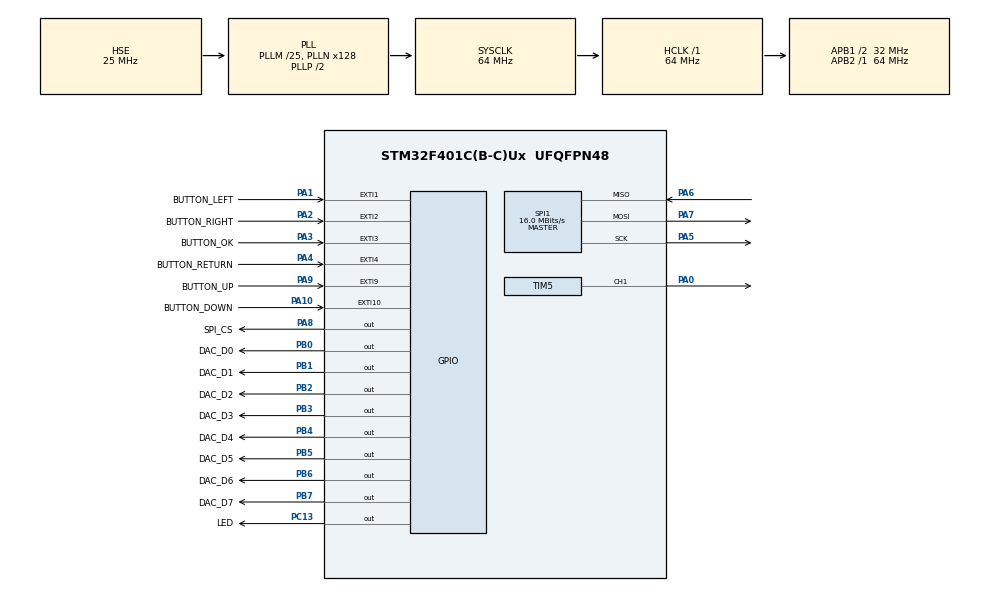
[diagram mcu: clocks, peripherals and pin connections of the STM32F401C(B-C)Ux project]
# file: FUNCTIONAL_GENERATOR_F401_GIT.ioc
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Dma.Request0=TIM1_UP
Dma.TIM1_UP.0.Direction=DMA_MEMORY_TO_PERIPH
Dma.TIM1_UP.0.FIFOMode=DMA_FIFOMODE_DISABLE
Dma.TIM1_UP.0.Instance=DMA2_Stream5
Dma.TIM1_UP.0.MemDataAlignment=DMA_MDATAALIGN_HALFWORD
Dma.TIM1_UP.0.MemInc=DMA_MINC_ENABLE
Dma.TIM1_UP.0.Mode=DMA_CIRCULAR
Dma.TIM1_UP.0.PeriphDataAlignment=DMA_PDATAALIGN_HALFWORD
Dma.TIM1_UP.0.PeriphInc=DMA_PINC_DISABLE
Dma.TIM1_UP.0.Priority=DMA_PRIORITY_LOW
FREERTOS.Queues01=myQueue01,10,20,1,Dynamic,NULL,NULL
FREERTOS.Tasks01=defaultTask,-3,128,StartDefaultTask,Default,NULL,Dynamic,NULL,NULL;myTask02,0,1024,buttonTask,Default,NULL,Dynamic,NULL,NULL;myTask03,-1,1024,displayTask,Default,NULL,Dynamic,NULL,NULL;myTask04,1,1024,dacTask,Default,NULL,Dynamic,NULL,NULL;myTask05,1,1024,pwmTask,Default,NULL,Dynamic,NULL,NULL
FREERTOS.configTOTAL_HEAP_SIZE=30000
FREERTOS.configUSE_NEWLIB_REENTRANT=0
Mcu.Family=STM32F4
Mcu.Name=STM32F401C(B-C)Ux
Mcu.Package=UFQFPN48
NVIC.DMA2_Stream5_IRQn=true\:5\:0\:false\:false\:true\:true\:false\:true\:true
NVIC.EXTI15_10_IRQn=true\:5\:0\:true\:false\:true\:true\:true\:true\:true
NVIC.EXTI1_IRQn=true\:5\:0\:true\:false\:true\:true\:true\:true\:true
NVIC.EXTI2_IRQn=true\:5\:0\:false\:false\:true\:true\:true\:true\:true
NVIC.EXTI3_IRQn=true\:5\:0\:false\:false\:true\:true\:true\:true\:true
NVIC.EXTI4_IRQn=true\:5\:0\:false\:false\:true\:true\:true\:true\:true
NVIC.EXTI9_5_IRQn=true\:5\:0\:false\:false\:true\:true\:true\:true\:true
NVIC.PriorityGroup=NVIC_PRIORITYGROUP_4
NVIC.TIM1_BRK_TIM9_IRQn=true\:5\:0\:false\:false\:true\:true\:true\:true\:true
NVIC.TIM2_IRQn=true\:15\:0\:false\:false\:true\:false\:false\:true\:true
NVIC.TimeBase=TIM2_IRQn
NVIC.TimeBaseIP=TIM2
PA0-WKUP.Signal=S_TIM5_CH1
PA1.GPIO_Label=BUTTON_LEFT
PA1.GPIO_ModeDefaultEXTI=GPIO_MODE_IT_FALLING
PA1.GPIO_PuPd=GPIO_PULLUP
PA1.Signal=GPXTI1
PA10.GPIO_Label=BUTTON_DOWN
PA10.GPIO_ModeDefaultEXTI=GPIO_MODE_IT_FALLING
PA10.GPIO_PuPd=GPIO_PULLUP
PA10.Signal=GPXTI10
PA13.Mode=Serial_Wire
PA13.Signal=SYS_JTMS-SWDIO
PA14.Mode=Serial_Wire
PA14.Signal=SYS_JTCK-SWCLK
PA2.GPIO_Label=BUTTON_RIGHT
PA2.GPIO_ModeDefaultEXTI=GPIO_MODE_IT_FALLING
PA2.GPIO_PuPd=GPIO_PULLUP
PA2.Signal=GPXTI2
PA3.GPIO_Label=BUTTON_OK
PA3.GPIO_ModeDefaultEXTI=GPIO_MODE_IT_FALLING
PA3.GPIO_PuPd=GPIO_PULLUP
PA3.Signal=GPXTI3
PA4.GPIO_Label=BUTTON_RETURN
PA4.GPIO_ModeDefaultEXTI=GPIO_MODE_IT_FALLING
PA4.GPIO_PuPd=GPIO_PULLUP
PA4.Signal=GPXTI4
PA5.Mode=Full_Duplex_Master
PA5.Signal=SPI1_SCK
PA6.Mode=Full_Duplex_Master
PA6.Signal=SPI1_MISO
PA7.Mode=Full_Duplex_Master
PA7.Signal=SPI1_MOSI
PA8.GPIO_Label=SPI_CS
PA8.GPIO_Speed=GPIO_SPEED_FREQ_MEDIUM
PA8.Signal=GPIO_Output
PA9.GPIO_Label=BUTTON_UP
PA9.GPIO_ModeDefaultEXTI=GPIO_MODE_IT_FALLING
PA9.GPIO_PuPd=GPIO_PULLUP
PA9.Signal=GPXTI9
PB0.GPIO_Label=DAC_D0
PB0.Signal=GPIO_Output
PB1.GPIO_Label=DAC_D1
PB1.Signal=GPIO_Output
PB2.GPIO_Label=DAC_D2
PB2.Signal=GPIO_Output
PB3.GPIO_Label=DAC_D3
PB3.Signal=GPIO_Output
PB4.GPIO_Label=DAC_D4
PB4.Signal=GPIO_Output
PB5.GPIO_Label=DAC_D5
PB5.Signal=GPIO_Output
PB6.GPIO_Label=DAC_D6
PB6.Signal=GPIO_Output
PB7.GPIO_Label=DAC_D7
PB7.Signal=GPIO_Output
PC13-ANTI_TAMP.GPIO_Label=LED
PC13-ANTI_TAMP.Signal=GPIO_Output
PH0\ -\ OSC_IN.Mode=HSE-External-Oscillator
PH0\ -\ OSC_IN.Signal=RCC_OSC_IN
PH1\ -\ OSC_OUT.Mode=HSE-External-Oscillator
PH1\ -\ OSC_OUT.Signal=RCC_OSC_OUT
ProjectManager.HeapSize=0x200
ProjectManager.StackSize=0x400
ProjectManager.TargetToolchain=STM32CubeIDE
RCC.48MHZClocksFreq_Value=32000000
RCC.AHBFreq_Value=64000000
RCC.APB1CLKDivider=RCC_HCLK_DIV2
RCC.APB1Freq_Value=32000000
RCC.APB1TimFreq_Value=64000000
RCC.APB2Freq_Value=64000000
RCC.APB2TimFreq_Value=64000000
RCC.CortexFreq_Value=64000000
RCC.HCLKFreq_Value=64000000
RCC.HSE_VALUE=25000000
RCC.HSI_VALUE=16000000
RCC.LSE_VALUE=32768
RCC.PLLM=25
RCC.PLLN=128
RCC.PLLSourceVirtual=RCC_PLLSOURCE_HSE
RCC.SYSCLKFreq_VALUE=64000000
RCC.SYSCLKSource=RCC_SYSCLKSOURCE_PLLCLK
RCC.VCOOutputFreq_Value=128000000
SH.S_TIM5_CH1.0=TIM5_CH1,PWM Generation1 CH1
SPI1.BaudRatePrescaler=SPI_BAUDRATEPRESCALER_4
SPI1.CalculateBaudRate=16.0 MBits/s
SPI1.Direction=SPI_DIRECTION_2LINES
SPI1.Mode=SPI_MODE_MASTER
SPI1.VirtualType=VM_MASTER
TIM5.Channel-PWM\ Generation1\ CH1=TIM_CHANNEL_1
TIM9.Period=9999
TIM9.Prescaler=639
VP_FREERTOS_VS_CMSIS_V1.Mode=CMSIS_V1
VP_SYS_VS_tim2.Mode=TIM2
VP_TIM1_VS_ClockSourceINT.Mode=Internal
VP_TIM5_VS_ClockSourceINT.Mode=Internal
VP_TIM9_VS_ClockSourceINT.Mode=Internal
board=custom

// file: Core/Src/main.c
/* USER CODE BEGIN Header */
/**
  ******************************************************************************
  * @file           : main.c
  * @brief          : Main program body
  ******************************************************************************
  * @attention
  *
  * Copyright (c) 2023 STMicroelectronics.
  * All rights reserved.
  *
  * This software is licensed under terms that can be found in the LICENSE file
  * in the root directory of this software component.
  * If no LICENSE file comes with this software, it is provided AS-IS.
  *
  ******************************************************************************
  */
/* USER CODE END Header */
#include "main.h"
#include "cmsis_os.h"

SPI_HandleTypeDef hspi1;

TIM_HandleTypeDef htim1;
TIM_HandleTypeDef htim5;
TIM_HandleTypeDef htim9;
DMA_HandleTypeDef hdma_tim1_up;

osThreadId defaultTaskHandle;
osThreadId myTask02Handle;
osThreadId myTask03Handle;
osThreadId myTask04Handle;
osThreadId myTask05Handle;
osMessageQId myQueue01Handle;

void SystemClock_Config(void);
static void MX_GPIO_Init(void);
static void MX_DMA_Init(void);
static void MX_SPI1_Init(void);
static void MX_TIM9_Init(void);
static void MX_TIM5_Init(void);
static void MX_TIM1_Init(void);
void StartDefaultTask(void const * argument);

/*	Задача для работы с клавиатурой		*/
void buttonTask(void const * argument);
/*	Задача для работы с дисплеем на MAX7219		*/
void displayTask(void const * argument);
/*	Задача для работы с ЦАПом	*/
void dacTask(void const * argument);
/*	Задача для работы с ШиМ	*/
void pwmTask(void const * argument);

/* USER CODE BEGIN PFP */

/*	имеем всевозможных 5 стадий настроек, для режима ЦАПа и ШиМ некоторые из неих будут отличаться.
 * 	По умолчанию все частоты 1 кГц, значит количество цифр на дисплее - 2. ЦАП и ШиМ изначально каждые 100 мс
 * 	проверяют состояние переменной dac_is_running и pwm_is_running.	*/
//--------------------------------------------------------------------------------
bool start_stage = true;
bool set_mode_stage = false;
bool set_signal_stage = false;
bool set_freq_stage = false;
bool set_duty_stage = false;
//--------------------------------------------------------------------------------
uint8_t digit_position = POINT_TENS;
uint8_t digits_amount = 2;
//--------------------------------------------------------------------------------
float freq_dac = 1.0;
float freq_pwm = 1.0;
float duty = 50.0f;
//--------------------------------------------------------------------------------
signal_t sign = TRIANGLE;
//--------------------------------------------------------------------------------
volatile bool dac_is_running = 0;
volatile bool pwm_is_running = 0;
volatile uint16_t button_exti;
//--------------------------------------------------------------------------------
bool dac_is_started = false;
bool pwm_is_started = false;
//--------------------------------------------------------------------------------

/*	Массив строк для удобного их вывода на дислпей на стадии установки сигнала	*/
static char signal_msg[][9] = {
		"TRIANGLE", "SINUS", "SAW", "REV SAW"
};

/*	Очередь для передачи идентификатора кнопки, на которую нажали, в задачу для работы с клавиатурой	*/
xQueueHandle xButtonQueue = NULL;
/*	Очередь для передачи строк на дисплей	*/
xQueueHandle xDisplayStringQueue = NULL;
/*	Очередь для передачи частоты на дисплей	*/
xQueueHandle xDisplayFreqQueue = NULL;
/*	Очередь для передачи скважности на дисплей	*/
xQueueHandle xDisplayDutyQueue = NULL;

/* USER CODE END PFP */

/* USER CODE BEGIN 0 */

/*	Колбек для первичной обработки нажатия клавиатуры	*/
void HAL_GPIO_EXTI_Callback(uint16_t GPIO_Pin)
{
	button_exti = GPIO_Pin;
	HAL_TIM_Base_Start_IT(&htim9);
	HAL_NVIC_DisableIRQ(BUTTON_DOWN_EXTI_IRQn);
	HAL_NVIC_DisableIRQ(BUTTON_UP_EXTI_IRQn);
	HAL_NVIC_DisableIRQ(BUTTON_LEFT_EXTI_IRQn);
	HAL_NVIC_DisableIRQ(BUTTON_RIGHT_EXTI_IRQn);
	HAL_NVIC_DisableIRQ(BUTTON_RETURN_EXTI_IRQn);
	HAL_NVIC_DisableIRQ(BUTTON_OK_EXTI_IRQn);
	/*	Запустили таймер на отсчёт 100 мс для защиты от дребезга.	*/
}
/* USER CODE END 0 */

int main(void)
{

  /* MCU Configuration--------------------------------------------------------*/

  /* Reset of all peripherals, Initializes the Flash interface and the Systick. */
  HAL_Init();

  /* Configure the system clock */
  SystemClock_Config();

  /* Initialize all configured peripherals */
  MX_GPIO_Init();
  MX_DMA_Init();
  MX_SPI1_Init();
  MX_TIM9_Init();
  MX_TIM5_Init();
  MX_TIM1_Init();
  /* USER CODE BEGIN 2 */
  max7219_init_t cfg = {
  		  .SPI_Handle = &hspi1,
  		  .decode_mode = MAX7219_NO_DECODE,
  		  .indicator_intensity = MAX7219_INTENSITY_25_OF_32,
  		  .digits_quantity = MAX7219_DISPLAY_0_TO_7,
		  .CS_PORT = SPI_CS_GPIO_Port,
  		  .CS_PIN = SPI_CS_Pin
    };
  MAX7219_init(&cfg);
  MAX7219_clearAll();
  MAX7219_sendString("SET MODE");

  xButtonQueue = xQueueCreate(10, sizeof(uint16_t));
  xDisplayStringQueue = xQueueCreate(10, sizeof(char[9]));
  xDisplayFreqQueue = xQueueCreate(10, sizeof(float));
  xDisplayDutyQueue = xQueueCreate(10, sizeof(float));

  /* USER CODE END 2 */

  /* Create the queue(s) */
  /* definition and creation of myQueue01 */
  osMessageQDef(myQueue01, 10, 20);
  myQueue01Handle = osMessageCreate(osMessageQ(myQueue01), NULL);

  /* Create the thread(s) */
  /* definition and creation of defaultTask */
  osThreadDef(defaultTask, StartDefaultTask, osPriorityIdle, 0, 128);
  defaultTaskHandle = osThreadCreate(osThread(defaultTask), NULL);

  /* definition and creation of myTask02 */
  osThreadDef(myTask02, buttonTask, osPriorityNormal, 0, 1024);
  myTask02Handle = osThreadCreate(osThread(myTask02), NULL);

  /* definition and creation of myTask03 */
  osThreadDef(myTask03, displayTask, osPriorityBelowNormal, 0, 1024);
  myTask03Handle = osThreadCreate(osThread(myTask03), NULL);

  /* definition and creation of myTask04 */
  osThreadDef(myTask04, dacTask, osPriorityAboveNormal, 0, 1024);
  myTask04Handle = osThreadCreate(osThread(myTask04), NULL);

  /* definition and creation of myTask05 */
  osThreadDef(myTask05, pwmTask, osPriorityAboveNormal, 0, 1024);
  myTask05Handle = osThreadCreate(osThread(myTask05), NULL);

  /* Start scheduler */
  osKernelStart();
  /* We should never get here as control is now taken by the scheduler */
  /* Infinite loop */
  while (1)
  {

  }
}

void SystemClock_Config(void)
{
  RCC_OscInitTypeDef RCC_OscInitStruct = {0};
  RCC_ClkInitTypeDef RCC_ClkInitStruct = {0};

  /** Configure the main internal regulator output voltage
  */
  __HAL_RCC_PWR_CLK_ENABLE();
  __HAL_PWR_VOLTAGESCALING_CONFIG(PWR_REGULATOR_VOLTAGE_SCALE2);

  /** Initializes the RCC Oscillators according to the specified parameters
  * in the RCC_OscInitTypeDef structure.
  */
  RCC_OscInitStruct.OscillatorType = RCC_OSCILLATORTYPE_HSE;
  RCC_OscInitStruct.HSEState = RCC_HSE_ON;
  RCC_OscInitStruct.PLL.PLLState = RCC_PLL_ON;
  RCC_OscInitStruct.PLL.PLLSource = RCC_PLLSOURCE_HSE;
  RCC_OscInitStruct.PLL.PLLM = 25;
  RCC_OscInitStruct.PLL.PLLN = 128;
  RCC_OscInitStruct.PLL.PLLP = RCC_PLLP_DIV2;
  RCC_OscInitStruct.PLL.PLLQ = 4;
  if (HAL_RCC_OscConfig(&RCC_OscInitStruct) != HAL_OK)
  {
    Error_Handler();
  }

  /** Initializes the CPU, AHB and APB buses clocks
  */
  RCC_ClkInitStruct.ClockType = RCC_CLOCKTYPE_HCLK|RCC_CLOCKTYPE_SYSCLK
                              |RCC_CLOCKTYPE_PCLK1|RCC_CLOCKTYPE_PCLK2;
  RCC_ClkInitStruct.SYSCLKSource = RCC_SYSCLKSOURCE_PLLCLK;
  RCC_ClkInitStruct.AHBCLKDivider = RCC_SYSCLK_DIV1;
  RCC_ClkInitStruct.APB1CLKDivider = RCC_HCLK_DIV2;
  RCC_ClkInitStruct.APB2CLKDivider = RCC_HCLK_DIV1;

  if (HAL_RCC_ClockConfig(&RCC_ClkInitStruct, FLASH_LATENCY_2) != HAL_OK)
  {
    Error_Handler();
  }
}

static void MX_SPI1_Init(void)
{

  /* SPI1 parameter configuration*/
  hspi1.Instance = SPI1;
  hspi1.Init.Mode = SPI_MODE_MASTER;
  hspi1.Init.Direction = SPI_DIRECTION_2LINES;
  hspi1.Init.DataSize = SPI_DATASIZE_8BIT;
  hspi1.Init.CLKPolarity = SPI_POLARITY_LOW;
  hspi1.Init.CLKPhase = SPI_PHASE_1EDGE;
  hspi1.Init.NSS = SPI_NSS_SOFT;
  hspi1.Init.BaudRatePrescaler = SPI_BAUDRATEPRESCALER_4;
  hspi1.Init.FirstBit = SPI_FIRSTBIT_MSB;
  hspi1.Init.TIMode = SPI_TIMODE_DISABLE;
  hspi1.Init.CRCCalculation = SPI_CRCCALCULATION_DISABLE;
  hspi1.Init.CRCPolynomial = 10;
  if (HAL_SPI_Init(&hspi1) != HAL_OK)
  {
    Error_Handler();
  }

}

static void MX_TIM1_Init(void)
{

  TIM_ClockConfigTypeDef sClockSourceConfig = {0};
  TIM_MasterConfigTypeDef sMasterConfig = {0};

  htim1.Instance = TIM1;
  htim1.Init.Prescaler = 0;
  htim1.Init.CounterMode = TIM_COUNTERMODE_UP;
  htim1.Init.Period = 65535;
  htim1.Init.ClockDivision = TIM_CLOCKDIVISION_DIV1;
  htim1.Init.RepetitionCounter = 0;
  htim1.Init.AutoReloadPreload = TIM_AUTORELOAD_PRELOAD_DISABLE;
  if (HAL_TIM_Base_Init(&htim1) != HAL_OK)
  {
    Error_Handler();
  }
  sClockSourceConfig.ClockSource = TIM_CLOCKSOURCE_INTERNAL;
  if (HAL_TIM_ConfigClockSource(&htim1, &sClockSourceConfig) != HAL_OK)
  {
    Error_Handler();
  }
  sMasterConfig.MasterOutputTrigger = TIM_TRGO_RESET;
  sMasterConfig.MasterSlaveMode = TIM_MASTERSLAVEMODE_DISABLE;
  if (HAL_TIMEx_MasterConfigSynchronization(&htim1, &sMasterConfig) != HAL_OK)
  {
    Error_Handler();
  }

}

static void MX_TIM5_Init(void)
{

  TIM_ClockConfigTypeDef sClockSourceConfig = {0};
  TIM_MasterConfigTypeDef sMasterConfig = {0};
  TIM_OC_InitTypeDef sConfigOC = {0};

  htim5.Instance = TIM5;
  htim5.Init.Prescaler = 0;
  htim5.Init.CounterMode = TIM_COUNTERMODE_UP;
  htim5.Init.Period = 4294967295;
  htim5.Init.ClockDivision = TIM_CLOCKDIVISION_DIV1;
  htim5.Init.AutoReloadPreload = TIM_AUTORELOAD_PRELOAD_DISABLE;
  if (HAL_TIM_Base_Init(&htim5) != HAL_OK)
  {
    Error_Handler();
  }
  sClockSourceConfig.ClockSource = TIM_CLOCKSOURCE_INTERNAL;
  if (HAL_TIM_ConfigClockSource(&htim5, &sClockSourceConfig) != HAL_OK)
  {
    Error_Handler();
  }
  if (HAL_TIM_PWM_Init(&htim5) != HAL_OK)
  {
    Error_Handler();
  }
  sMasterConfig.MasterOutputTrigger = TIM_TRGO_RESET;
  sMasterConfig.MasterSlaveMode = TIM_MASTERSLAVEMODE_DISABLE;
  if (HAL_TIMEx_MasterConfigSynchronization(&htim5, &sMasterConfig) != HAL_OK)
  {
    Error_Handler();
  }
  sConfigOC.OCMode = TIM_OCMODE_PWM1;
  sConfigOC.Pulse = 0;
  sConfigOC.OCPolarity = TIM_OCPOLARITY_HIGH;
  sConfigOC.OCFastMode = TIM_OCFAST_DISABLE;
  if (HAL_TIM_PWM_ConfigChannel(&htim5, &sConfigOC, TIM_CHANNEL_1) != HAL_OK)
  {
    Error_Handler();
  }
  HAL_TIM_MspPostInit(&htim5);

}

static void MX_TIM9_Init(void)
{

  TIM_ClockConfigTypeDef sClockSourceConfig = {0};

  htim9.Instance = TIM9;
  htim9.Init.Prescaler = 639;
  htim9.Init.CounterMode = TIM_COUNTERMODE_UP;
  htim9.Init.Period = 9999;
  htim9.Init.ClockDivision = TIM_CLOCKDIVISION_DIV1;
  htim9.Init.AutoReloadPreload = TIM_AUTORELOAD_PRELOAD_DISABLE;
  if (HAL_TIM_Base_Init(&htim9) != HAL_OK)
  {
    Error_Handler();
  }
  sClockSourceConfig.ClockSource = TIM_CLOCKSOURCE_INTERNAL;
  if (HAL_TIM_ConfigClockSource(&htim9, &sClockSourceConfig) != HAL_OK)
  {
    Error_Handler();
  }

}

static void MX_DMA_Init(void)
{

  /* DMA controller clock enable */
  __HAL_RCC_DMA2_CLK_ENABLE();

  /* DMA interrupt init */
  /* DMA2_Stream5_IRQn interrupt configuration */
  HAL_NVIC_SetPriority(DMA2_Stream5_IRQn, 5, 0);
  HAL_NVIC_EnableIRQ(DMA2_Stream5_IRQn);

}

static void MX_GPIO_Init(void)
{
  GPIO_InitTypeDef GPIO_InitStruct = {0};

  /* GPIO Ports Clock Enable */
  __HAL_RCC_GPIOC_CLK_ENABLE();
  __HAL_RCC_GPIOH_CLK_ENABLE();
  __HAL_RCC_GPIOA_CLK_ENABLE();
  __HAL_RCC_GPIOB_CLK_ENABLE();

  /*Configure GPIO pin Output Level */
  HAL_GPIO_WritePin(LED_GPIO_Port, LED_Pin, GPIO_PIN_RESET);

  /*Configure GPIO pin Output Level */
  HAL_GPIO_WritePin(GPIOB, DAC_D0_Pin|DAC_D1_Pin|DAC_D2_Pin|DAC_D3_Pin
                          |DAC_D4_Pin|DAC_D5_Pin|DAC_D6_Pin|DAC_D7_Pin, GPIO_PIN_RESET);

  /*Configure GPIO pin Output Level */
  HAL_GPIO_WritePin(SPI_CS_GPIO_Port, SPI_CS_Pin, GPIO_PIN_RESET);

  /*Configure GPIO pin : LED_Pin */
  GPIO_InitStruct.Pin = LED_Pin;
  GPIO_InitStruct.Mode = GPIO_MODE_OUTPUT_PP;
  GPIO_InitStruct.Pull = GPIO_NOPULL;
  GPIO_InitStruct.Speed = GPIO_SPEED_FREQ_LOW;
  HAL_GPIO_Init(LED_GPIO_Port, &GPIO_InitStruct);

  /*Configure GPIO pins : BUTTON_LEFT_Pin BUTTON_RIGHT_Pin BUTTON_OK_Pin BUTTON_RETURN_Pin
                           BUTTON_UP_Pin BUTTON_DOWN_Pin */
  GPIO_InitStruct.Pin = BUTTON_LEFT_Pin|BUTTON_RIGHT_Pin|BUTTON_OK_Pin|BUTTON_RETURN_Pin
                          |BUTTON_UP_Pin|BUTTON_DOWN_Pin;
  GPIO_InitStruct.Mode = GPIO_MODE_IT_FALLING;
  GPIO_InitStruct.Pull = GPIO_PULLUP;
  HAL_GPIO_Init(GPIOA, &GPIO_InitStruct);

  /*Configure GPIO pins : DAC_D0_Pin DAC_D1_Pin DAC_D2_Pin DAC_D3_Pin
                           DAC_D4_Pin DAC_D5_Pin DAC_D6_Pin DAC_D7_Pin */
  GPIO_InitStruct.Pin = DAC_D0_Pin|DAC_D1_Pin|DAC_D2_Pin|DAC_D3_Pin
                          |DAC_D4_Pin|DAC_D5_Pin|DAC_D6_Pin|DAC_D7_Pin;
  GPIO_InitStruct.Mode = GPIO_MODE_OUTPUT_PP;
  GPIO_InitStruct.Pull = GPIO_NOPULL;
  GPIO_InitStruct.Speed = GPIO_SPEED_FREQ_LOW;
  HAL_GPIO_Init(GPIOB, &GPIO_InitStruct);

  /*Configure GPIO pin : SPI_CS_Pin */
  GPIO_InitStruct.Pin = SPI_CS_Pin;
  GPIO_InitStruct.Mode = GPIO_MODE_OUTPUT_PP;
  GPIO_InitStruct.Pull = GPIO_NOPULL;
  GPIO_InitStruct.Speed = GPIO_SPEED_FREQ_MEDIUM;
  HAL_GPIO_Init(SPI_CS_GPIO_Port, &GPIO_InitStruct);

  /* EXTI interrupt init*/
  HAL_NVIC_SetPriority(EXTI1_IRQn, 5, 0);
  HAL_NVIC_EnableIRQ(EXTI1_IRQn);

  HAL_NVIC_SetPriority(EXTI2_IRQn, 5, 0);
  HAL_NVIC_EnableIRQ(EXTI2_IRQn);

  HAL_NVIC_SetPriority(EXTI3_IRQn, 5, 0);
  HAL_NVIC_EnableIRQ(EXTI3_IRQn);

  HAL_NVIC_SetPriority(EXTI4_IRQn, 5, 0);
  HAL_NVIC_EnableIRQ(EXTI4_IRQn);

  HAL_NVIC_SetPriority(EXTI9_5_IRQn, 5, 0);
  HAL_NVIC_EnableIRQ(EXTI9_5_IRQn);

  HAL_NVIC_SetPriority(EXTI15_10_IRQn, 5, 0);
  HAL_NVIC_EnableIRQ(EXTI15_10_IRQn);

}

void StartDefaultTask(void const * argument)
{
  for(;;)
  {
    osDelay(1);
  }
}

void buttonTask(void const * argument)
{
  /* USER CODE BEGIN buttonTask */
	uint16_t button_num;
	float freq_buff = 1.0f;
	char str_buff[9] = {};
	uint8_t mode = PWM_MODE;
  /* Infinite loop */
	for(;;)
	{
		button_num = 0;
		xQueueReceive(xButtonQueue, &button_num, 100 / portTICK_RATE_MS);
		switch(button_num)
		{
			case BUTTON_LEFT_Pin:
				if( set_mode_stage )
				{
					sprintf(str_buff, "%s", (mode == PWM_MODE)? "DAC MODE" : "PWM MODE");
					mode = (mode == PWM_MODE)? DAC_MODE : PWM_MODE;
					xQueueSendToBack(xDisplayStringQueue, str_buff, 50 / portTICK_RATE_MS);
				}
				if( set_signal_stage )
				{
					sign++;
					if( sign > REVERSE_SAW )  sign = TRIANGLE;
					sprintf(str_buff, "%s", signal_msg[sign - 1]);
					xQueueSendToBack(xDisplayStringQueue, str_buff, 50 / portTICK_RATE_MS);
				}
				if( set_freq_stage )
				{
					digit_position++;
					if( digit_position > digits_amount ) digit_position = POINT_TENS;
					/*	Если достигли старшего разряда то возвращаемся к младшему	*/
					freq_buff = (mode == PWM_MODE)? freq_pwm : freq_dac;
					xQueueSendToBack(xDisplayFreqQueue, &freq_buff, 50 / portTICK_RATE_MS);
				}
				if( set_duty_stage )
				{
					digit_position++;
					if( digit_position > digits_amount ) digit_position = POINT_TENS;
					xQueueSendToBack(xDisplayDutyQueue, &duty, 50 / portTICK_RATE_MS);
				}
				break;

			case BUTTON_RIGHT_Pin:
				if( set_mode_stage )	// Если мы на выборе режима то мы должны его выбрать
				{
					sprintf(str_buff, "%s", (mode == PWM_MODE)? "DAC MODE" : "PWM MODE");
					mode = (mode == PWM_MODE)? DAC_MODE : PWM_MODE;
					xQueueSendToBack(xDisplayStringQueue, str_buff, 50 / portTICK_RATE_MS);
				}
				if( set_signal_stage )
				{
					sign--;
					if( sign < TRIANGLE )  sign = REVERSE_SAW;
					sprintf(str_buff, "%s", signal_msg[sign - 1]);
					xQueueSendToBack(xDisplayStringQueue, str_buff, 50 / portTICK_RATE_MS);
				}
				if( set_freq_stage )
				{
					digit_position--;
					if( digit_position < POINT_TENS)	digit_position = digits_amount;
					/*	Если мы с самого краю справа, то нужно переместиться на самый старший разряд слева */
					freq_buff = (mode == PWM_MODE)? freq_pwm : freq_dac;
					xQueueSendToBack(xDisplayFreqQueue, &freq_buff, 50 / portTICK_RATE_MS);
				}
				if( set_duty_stage )
				{
					digit_position--;
					if( digit_position < POINT_TENS)	digit_position = digits_amount;
					xQueueSendToBack(xDisplayDutyQueue, &duty, 50 / portTICK_RATE_MS);
				}
				break;

			case BUTTON_UP_Pin:
				if( set_freq_stage )
				{
					if( mode == PWM_MODE)
					{
						freq_pwm += (digit_position == POINT_TENS) ? 0.1 : 0;
						freq_pwm += (digit_position == UNITS) ? 1 : 0;
						freq_pwm += (digit_position == TENS) ? 10 : 0;
						freq_pwm += (digit_position == HUNDREDS) ? 100 : 0;
						/*	В зависимости от того, на каком разряде мы остановились, будем прибавлять величину на
						 	 1 нужного нам разряда, будь то десятые, еидинцы или десятки */
						if( freq_pwm > 9.9 && freq_pwm < 100 )	digits_amount = TENS;
						if( freq_pwm > 99.9 )					digits_amount = HUNDREDS;
						if( freq_pwm > 999.9 )					freq_pwm = 999.9;
						xQueueSendToBack(xDisplayFreqQueue, &freq_pwm, 50 / portTICK_RATE_MS);
					}
					if( mode == DAC_MODE )
					{
						freq_dac += (digit_position == POINT_TENS) ? 0.1 : 0;
						freq_dac += (digit_position == UNITS) ? 1 : 0;
						freq_dac +=(digit_position == TENS) ? 10 : 0;
						if(freq_dac > 9.9)	digits_amount = TENS;
						if( freq_dac > 5 && sign == SIN )							freq_dac = 5.0;
						if( freq_dac > 30 && (sign == SAW || sign == REVERSE_SAW) )	freq_dac = 30.0;
						if( freq_dac > 15 && sign == TRIANGLE )						freq_dac = 15.0;
						xQueueSendToBack(xDisplayFreqQueue, &freq_dac, 50 / portTICK_RATE_MS);
					}
				}
				if( set_duty_stage )
				{
					duty += (digit_position == POINT_TENS) ? 0.1 : 0;
					duty += (digit_position == UNITS) ? 1 : 0;
					duty += (digit_position == TENS) ? 10 : 0;
					if(duty > 9.9)	digits_amount = TENS;
					if(duty > 99.9)	duty = 99.9;
					xQueueSendToBack(xDisplayDutyQueue, &duty, 50 / portTICK_RATE_MS);
				}
				break;

			case BUTTON_DOWN_Pin:
				if( set_freq_stage )
				{
					if( mode == PWM_MODE)
					{
						freq_pwm -= (digit_position == POINT_TENS) ? 0.1 : 0;
						freq_pwm -= (digit_position == UNITS) ? 1 : 0;
						freq_pwm -= (digit_position == TENS) ? 10 : 0;
						freq_pwm -= (digit_position == HUNDREDS) ? 100 : 0;
						if( freq_pwm < 10 )	digits_amount = UNITS;
						if( freq_pwm <= 0.01 )	freq_pwm = 0.1;
						xQueueSendToBack(xDisplayFreqQueue, &freq_pwm, 50 / portTICK_RATE_MS);
					}
					if( mode == DAC_MODE )
					{
						freq_dac -= (digit_position == POINT_TENS) ? 0.1 : 0;
						freq_dac -= (digit_position == UNITS) ? 1 : 0;
						freq_dac -= (digit_position == TENS) ? 10 : 0;
						if( freq_dac < 10 )	digits_amount = UNITS;
						if( freq_dac <= 0.01 )	freq_dac = 0.1;
					}
				}
				if( set_duty_stage )
				{
					duty -= (digit_position == POINT_TENS) ? 0.1 : 0;
					duty -= (digit_position == UNITS) ? 1 : 0;
					duty -= (digit_position == TENS) ? 10 : 0;
					if(duty < 10)	digits_amount = UNITS;
					if(duty <= 0.01 )	duty = 0.1;
					xQueueSendToBack(xDisplayDutyQueue, &duty, 50 / portTICK_RATE_MS);
				}
				break;

			case BUTTON_OK_Pin:
				if( start_stage )
				{
					start_stage = false;
					set_mode_stage = true;
					sprintf(str_buff, "PWM MODE");
					xQueueSendToBack(xDisplayStringQueue, str_buff, 50 / portTICK_RATE_MS);	//
					continue;
				}
				if( set_mode_stage )
				{
					set_mode_stage = false;
					if( mode == PWM_MODE)
					{
						set_signal_stage = false;
						digits_amount = UNITS;
						set_freq_stage = true;
						sprintf(str_buff, "SET FREQ");
						xQueueSendToBack(xDisplayStringQueue, str_buff, 50 / portTICK_RATE_MS);
						vTaskDelay(2000 / portTICK_RATE_MS);
						xQueueSendToBack(xDisplayFreqQueue, &freq_pwm, 50 / portTICK_RATE_MS);
						continue;
					}
					else if( mode == DAC_MODE)
					{
						set_signal_stage = true;
						sprintf(str_buff, "SET SIGN");
						xQueueSendToBack(xDisplayStringQueue, str_buff, 50 / portTICK_RATE_MS);
						vTaskDelay(2000 / portTICK_RATE_MS);
						sprintf(str_buff, signal_msg[sign - 1]);
						xQueueSendToBack(xDisplayStringQueue, str_buff, 50 / portTICK_RATE_MS);
						continue;
					}
				}
				if( set_signal_stage )
				{
					set_signal_stage = false;
					set_freq_stage = true;
					sprintf(str_buff, "SET FREQ");
					xQueueSendToBack(xDisplayStringQueue, str_buff, 10 / portTICK_RATE_MS);
					vTaskDelay(2000 / portTICK_RATE_MS);
					xQueueSendToBack(xDisplayFreqQueue, &freq_dac, 10 / portTICK_RATE_MS);
					continue;
				}
				if( set_freq_stage )
				{
					if( mode == PWM_MODE )
					{
						digits_amount = TENS;
						sprintf(str_buff, "%s", "SET DUTY");
						xQueueSendToBack(xDisplayStringQueue, str_buff, 50 / portTICK_RATE_MS);
						vTaskDelay(2000 / portTICK_RATE_MS);
						xQueueSendToBack(xDisplayDutyQueue, &duty, 50 / portTICK_RATE_MS);
						set_duty_stage = true;
						set_freq_stage = false;
						continue;
					}
					else
					{
						set_duty_stage = false;
						sprintf(str_buff, "%s", "DAC RUN");
						xQueueSendToBack(xDisplayStringQueue, str_buff, 50 / portTICK_RATE_MS);
						dac_is_running = true;
					}
					set_freq_stage = false;
				}
				if( set_duty_stage )
				{
					set_duty_stage = false;
					sprintf(str_buff, "%s", "PWM RUN");
					xQueueSendToBack(xDisplayStringQueue, str_buff, 50 / portTICK_RATE_MS);
					pwm_is_running = true;
				}
				break;

			case BUTTON_RETURN_Pin:
				set_mode_stage = false;
				set_signal_stage = false;
				set_duty_stage = false;
				set_freq_stage = false;
				start_stage = true;
				mode = PWM_MODE;
				sprintf(str_buff, "%s", "SET MODE");
				xQueueSendToBack(xDisplayStringQueue,str_buff, 10 / portTICK_RATE_MS);
				break;
		}
		HAL_GPIO_TogglePin(LED_GPIO_Port, LED_Pin);
	}
  /* USER CODE END buttonTask */
}

void displayTask(void const * argument)
{
  /* USER CODE BEGIN displayTask */
  /* Infinite loop */
	char str[9] = {};
	uint8_t offset;
	float freq = 0.0f;
	float duty = 0.0f;
	for(;;)
	{
		if( xQueueReceive(xDisplayStringQueue, str, 10 / portTICK_RATE_MS) == pdPASS )
		{
			MAX7219_clearAll();
			MAX7219_sendString(str);
		}
		if( set_duty_stage )
		{
			if( xQueueReceive(xDisplayDutyQueue, &duty, 10 / portTICK_RATE_MS) != pdPASS ) continue;
			MAX7219_clearAll();
			/*	Реализована подсветка нужного разряда при его выборе путем подсвечивания цифры на 0,3 сек	*/
			offset = MAX7219_sendDuty(duty);
			MAX7219_clearOneSegment( offset - (1 + digit_position) );
			vTaskDelay(300 / portTICK_RATE_MS);
			MAX7219_clearAll();
			MAX7219_sendDuty(duty);
		}
		else if( set_freq_stage )
		{
			if( xQueueReceive(xDisplayFreqQueue, &freq, 10 / portTICK_RATE_MS) != pdPASS) continue;
			MAX7219_clearAll();
			offset = MAX7219_sendFreq(freq);
			MAX7219_clearOneSegment( offset - (1 + digit_position) );
			vTaskDelay(300 / portTICK_RATE_MS);
			MAX7219_clearAll();
			MAX7219_sendFreq(freq);
		}
	}
  /* USER CODE END displayTask */
}

void dacTask(void const * argument)
{
  /* USER CODE BEGIN dacTask */
  /* Infinite loop */
	for(;;)
	{
		if( dac_is_running && !dac_is_started )	/*	Если выставили переменную на работу ЦАПа но он ещё не работает	*/
		{
			DAC_start(sign, freq_dac);
			dac_is_started = true;				/* 	Чтобы повторно сюда не заходить	*/
		}
		if( !dac_is_running && dac_is_started)	/*	Если ЦАП работает была нажата кнопка RETURN */
		{
			DAC_stop();
			dac_is_started = false;
		}
		vTaskDelay(100 / portTICK_RATE_MS);
	}
  /* USER CODE END dacTask */
}

void pwmTask(void const * argument)
{
  /* USER CODE BEGIN pwmTask */
  /* Infinite loop */
	for(;;)
	{
		if( pwm_is_running && !pwm_is_started )	/*	Если выставили переменную на работу Ш�?М но он ещё не работает	*/
		{
			PWM_start(freq_pwm, duty);
			pwm_is_started = true;
		}
		if( !pwm_is_running && pwm_is_started)	/*	Если Ш�?М работает была нажата кнопка RETURN */
		{
			PWM_stop();
			pwm_is_started = false;
		}
		vTaskDelay(100 / portTICK_RATE_MS);
	}
  /* USER CODE END pwmTask */
}

/* Колбек в котором	реализуется защита от дребезга	*/
void HAL_TIM_PeriodElapsedCallback(TIM_HandleTypeDef *htim)
{
  if (htim->Instance == TIM2) {
    HAL_IncTick();
  }
  /* USER CODE BEGIN Callback 1 */
	if(htim->Instance == TIM9)
	{
		HAL_TIM_Base_Stop_IT(&htim9);
		BaseType_t high_task_awoken = 0;
		if( HAL_GPIO_ReadPin(GPIOA, button_exti) == GPIO_PIN_RESET )
		{
			uint16_t button_num = button_exti;
			switch(button_exti)
			{
				case BUTTON_LEFT_Pin:
					button_num = BUTTON_LEFT_Pin;
					break;
				case BUTTON_RIGHT_Pin:
					button_num = BUTTON_RIGHT_Pin;
					break;
				case BUTTON_UP_Pin:
					button_num = BUTTON_UP_Pin;
					break;
				case BUTTON_DOWN_Pin:
					button_num = BUTTON_DOWN_Pin;
					break;
				case BUTTON_OK_Pin:
					button_num = BUTTON_OK_Pin;
					break;
				case BUTTON_RETURN_Pin:
					button_num = BUTTON_RETURN_Pin;
					dac_is_running = false;
					pwm_is_running = false;
					break;
			}
			xQueueSendToBackFromISR(xButtonQueue, &button_num, &high_task_awoken);
		}
		EXTI->PR |= BUTTON_LEFT_Pin;
		EXTI->PR |= BUTTON_RIGHT_Pin;
		EXTI->PR |= BUTTON_OK_Pin;
		EXTI->PR |= BUTTON_RETURN_Pin;
		EXTI->PR |= BUTTON_UP_Pin;
		EXTI->PR |= BUTTON_DOWN_Pin;
		/*	Чистим флаги прерываний которые могли произойти во время задрежки таймером, чтобы не попасть в колбек
		 * 	ещё лишний раз	*/
		HAL_NVIC_EnableIRQ(BUTTON_DOWN_EXTI_IRQn);
		HAL_NVIC_EnableIRQ(BUTTON_UP_EXTI_IRQn);
		HAL_NVIC_EnableIRQ(BUTTON_LEFT_EXTI_IRQn);
		HAL_NVIC_EnableIRQ(BUTTON_RIGHT_EXTI_IRQn);
		HAL_NVIC_EnableIRQ(BUTTON_RETURN_EXTI_IRQn);
		HAL_NVIC_EnableIRQ(BUTTON_OK_EXTI_IRQn);

		if( high_task_awoken == pdTRUE )
		{
			portYIELD_FROM_ISR(high_task_awoken);
		}
	}
  /* USER CODE END Callback 1 */
}

void Error_Handler(void)
{
  __disable_irq();
  while (1)
  {
  }
}
